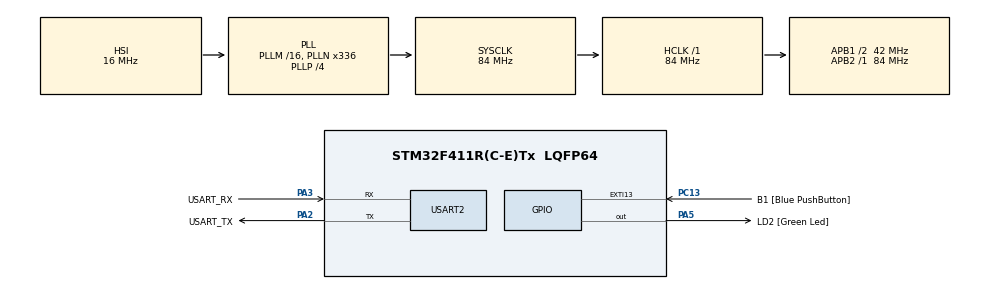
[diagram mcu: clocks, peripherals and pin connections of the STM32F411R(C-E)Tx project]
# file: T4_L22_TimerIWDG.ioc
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Mcu.Family=STM32F4
Mcu.Name=STM32F411R(C-E)Tx
Mcu.Package=LQFP64
NVIC.PriorityGroup=NVIC_PRIORITYGROUP_0
PA13.GPIO_Label=TMS
PA13.Mode=Serial_Wire
PA13.Signal=SYS_JTMS-SWDIO
PA14.GPIO_Label=TCK
PA14.Mode=Serial_Wire
PA14.Signal=SYS_JTCK-SWCLK
PA2.GPIO_Label=USART_TX
PA2.Mode=Asynchronous
PA2.Signal=USART2_TX
PA3.GPIO_Label=USART_RX
PA3.Mode=Asynchronous
PA3.Signal=USART2_RX
PA5.GPIO_Label=LD2 [Green Led]
PA5.Signal=GPIO_Output
PB3.GPIO_Label=SWO
PB3.Signal=SYS_JTDO-SWO
PC13-ANTI_TAMP.GPIO_Label=B1 [Blue PushButton]
PC13-ANTI_TAMP.GPIO_ModeDefaultEXTI=GPIO_MODE_IT_FALLING
PC13-ANTI_TAMP.Signal=GPXTI13
PC14-OSC32_IN.Mode=LSE-External-Oscillator
PC14-OSC32_IN.Signal=RCC_OSC32_IN
PC15-OSC32_OUT.Mode=LSE-External-Oscillator
PC15-OSC32_OUT.Signal=RCC_OSC32_OUT
PH0\ -\ OSC_IN.Mode=HSE-External-Clock-Source
PH0\ -\ OSC_IN.Signal=RCC_OSC_IN
PH1\ -\ OSC_OUT.Mode=HSE-External-Clock-Source
PH1\ -\ OSC_OUT.Signal=RCC_OSC_OUT
ProjectManager.HeapSize=0x200
ProjectManager.StackSize=0x400
ProjectManager.TargetToolchain=STM32CubeIDE
RCC.48MHZClocksFreq_Value=84000000
RCC.AHBFreq_Value=84000000
RCC.APB1CLKDivider=RCC_HCLK_DIV2
RCC.APB1Freq_Value=42000000
RCC.APB1TimFreq_Value=84000000
RCC.APB2Freq_Value=84000000
RCC.APB2TimFreq_Value=84000000
RCC.CortexFreq_Value=84000000
RCC.FLatency-AdvancedSettings=FLASH_LATENCY_2
RCC.HCLKFreq_Value=84000000
RCC.HSE_VALUE=8000000
RCC.HSI_VALUE=16000000
RCC.PLLN=336
RCC.PLLP=RCC_PLLP_DIV4
RCC.SYSCLKFreq_VALUE=84000000
RCC.SYSCLKSource=RCC_SYSCLKSOURCE_PLLCLK
RCC.VCOOutputFreq_Value=336000000
USART2.VirtualMode=VM_ASYNC
VP_IWDG_VS_IWDG.Mode=IWDG_Activate
board=NUCLEO-F411RE

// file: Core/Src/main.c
/* USER CODE BEGIN Header */
/**
  ******************************************************************************
  * @file           : main.c
  * @brief          : Main program body
  ******************************************************************************
  * @attention
  *
  * <h2><center>&copy; Copyright (c) 2020 STMicroelectronics.
  * All rights reserved.</center></h2>
  *
  * This software component is licensed by ST under BSD 3-Clause license,
  * the "License"; You may not use this file except in compliance with the
  * License. You may obtain a copy of the License at:
  *                        opensource.org/licenses/BSD-3-Clause
  *
  ******************************************************************************
  */
/* USER CODE END Header */
#include "main.h"
#include "iwdg.h"
#include "usart.h"
#include "gpio.h"

/* USER CODE BEGIN Includes */
#include "string.h"
#include "stdio.h"
/* USER CODE END Includes */

void SystemClock_Config(void);
/* USER CODE BEGIN PFP */
void SendUart(UART_HandleTypeDef *huart, uint8_t *Message);
/* USER CODE END PFP */

int main(void)
{

  /* MCU Configuration--------------------------------------------------------*/

  /* Reset of all peripherals, Initializes the Flash interface and the Systick. */
  HAL_Init();

  /* Configure the system clock */
  SystemClock_Config();

  /* Initialize all configured peripherals */
  MX_GPIO_Init();
  MX_USART2_UART_Init();
  MX_IWDG_Init();
  /* USER CODE BEGIN 2 */
  if(__HAL_RCC_GET_FLAG(RCC_FLAG_IWDGRST) != RESET)
  {
	  SendUart(&huart2, "!!!!!IWDG RESET!!!!!\n\r");

	  __HAL_RCC_CLEAR_RESET_FLAGS();
  }
  else
  {
	  SendUart(&huart2, "!!!!Normal Reset!!!!\n\r");
  }
  /* USER CODE END 2 */

  /* Infinite loop */
  /* USER CODE BEGIN WHILE */
  while (1)
  {
	  if(HAL_IWDG_Refresh(&hiwdg) != HAL_OK)
	  {
		  /* Refresh Error */
		  Error_Handler();
	  }

	  if(!HAL_GPIO_ReadPin(B1_GPIO_Port, B1_Pin))
	  {
		  while(!HAL_GPIO_ReadPin(B1_GPIO_Port, B1_Pin))
		  {
			  // do nothing
		  }
	  }

	  HAL_Delay(240);
    /* USER CODE END WHILE */

  }
}

void SystemClock_Config(void)
{
  RCC_OscInitTypeDef RCC_OscInitStruct = {0};
  RCC_ClkInitTypeDef RCC_ClkInitStruct = {0};

  /** Configure the main internal regulator output voltage
  */
  __HAL_RCC_PWR_CLK_ENABLE();
  __HAL_PWR_VOLTAGESCALING_CONFIG(PWR_REGULATOR_VOLTAGE_SCALE1);
  /** Initializes the RCC Oscillators according to the specified parameters
  * in the RCC_OscInitTypeDef structure.
  */
  RCC_OscInitStruct.OscillatorType = RCC_OSCILLATORTYPE_HSI|RCC_OSCILLATORTYPE_LSI;
  RCC_OscInitStruct.HSIState = RCC_HSI_ON;
  RCC_OscInitStruct.HSICalibrationValue = RCC_HSICALIBRATION_DEFAULT;
  RCC_OscInitStruct.LSIState = RCC_LSI_ON;
  RCC_OscInitStruct.PLL.PLLState = RCC_PLL_ON;
  RCC_OscInitStruct.PLL.PLLSource = RCC_PLLSOURCE_HSI;
  RCC_OscInitStruct.PLL.PLLM = 16;
  RCC_OscInitStruct.PLL.PLLN = 336;
  RCC_OscInitStruct.PLL.PLLP = RCC_PLLP_DIV4;
  RCC_OscInitStruct.PLL.PLLQ = 4;
  if (HAL_RCC_OscConfig(&RCC_OscInitStruct) != HAL_OK)
  {
    Error_Handler();
  }
  /** Initializes the CPU, AHB and APB buses clocks
  */
  RCC_ClkInitStruct.ClockType = RCC_CLOCKTYPE_HCLK|RCC_CLOCKTYPE_SYSCLK
                              |RCC_CLOCKTYPE_PCLK1|RCC_CLOCKTYPE_PCLK2;
  RCC_ClkInitStruct.SYSCLKSource = RCC_SYSCLKSOURCE_PLLCLK;
  RCC_ClkInitStruct.AHBCLKDivider = RCC_SYSCLK_DIV1;
  RCC_ClkInitStruct.APB1CLKDivider = RCC_HCLK_DIV2;
  RCC_ClkInitStruct.APB2CLKDivider = RCC_HCLK_DIV1;

  if (HAL_RCC_ClockConfig(&RCC_ClkInitStruct, FLASH_LATENCY_2) != HAL_OK)
  {
    Error_Handler();
  }
}

/* USER CODE BEGIN 4 */
void SendUart(UART_HandleTypeDef *huart, uint8_t *Message)
{
	HAL_UART_Transmit(huart, Message, strlen((const char*)Message), 100);
}
/* USER CODE END 4 */

void Error_Handler(void)
{
}

/************************ (C) COPYRIGHT STMicroelectronics *****END OF FILE****/
